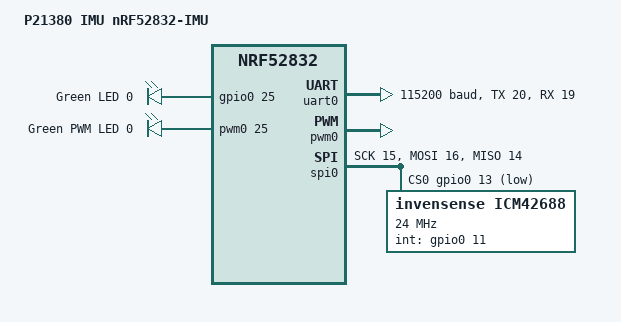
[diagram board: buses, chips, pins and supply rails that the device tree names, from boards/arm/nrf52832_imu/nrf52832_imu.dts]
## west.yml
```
# Copyright (c) 2021 Nordic Semiconductor ASA
# SPDX-License-Identifier: Apache-2.0

manifest:
  self:
    path: 21380_IMU

  remotes:
    - name: zephyrproject-rtos
      url-base: https://github.com/zephyrproject-rtos

  projects:
    - name: zephyr
      remote: zephyrproject-rtos
      revision: v2.7-branch
      import: true
```

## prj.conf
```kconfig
# Incresed stack due to settings API usage
#CONFIG_SYSTEM_WORKQUEUE_STACK_SIZE=2048

CONFIG_BT=y
CONFIG_BT_DEBUG_LOG=y
CONFIG_BT_DEVICE_NAME="P21380 IMU"
CONFIG_BT_DEVICE_NAME_MAX=65
#CONFIG_BT_BROADCASTER=y
#CONFIG_BT_OBSERVER=y

# CONFIG_BT_SMP=y
# CONFIG_BT_SIGNING=y
# CONFIG_BT_PERIPHERAL=y
# CONFIG_BT_DIS=y
# CONFIG_BT_ATT_PREPARE_COUNT=5
# CONFIG_BT_BAS=y
# CONFIG_BT_HRS=y
# CONFIG_BT_PRIVACY=y
# CONFIG_BT_DEVICE_NAME="Zephyr Peripheral Sample Long Name"
# CONFIG_BT_DEVICE_APPEARANCE=833 CONFIG_BT_DEVICE_NAME_DYNAMIC=y
# CONFIG_BT_DEVICE_NAME_MAX=65
# CONFIG_BT_BROADCASTER=y
# CONFIG_BT_OBSERVER=y
# 
# CONFIG_BT_KEYS_OVERWRITE_OLDEST=y
# CONFIG_BT_SETTINGS=y
# CONFIG_FLASH=y
# CONFIG_FLASH_PAGE_LAYOUT=y
# CONFIG_FLASH_MAP=y
# CONFIG_NVS=y
# CONFIG_SETTINGS=y

###########
# for GPIO
###########

CONFIG_GPIO=y

#########
#  SPI  #
#########

CONFIG_SPI=y
#CONFIG_SPI_NRFX=y
#CONFIG_SPI_0=y
#CONFIG_SPI_0_NRF_SPI=y
CONFIG_SENSOR=y
#CONFIG_ICM42688=y
#CONFIG_ICM42688_TRIGGER_OWN_THREAD=y
CONFIG_ICM42605=y
CONFIG_ICM42605_TRIGGER_OWN_THREAD=y
#CONFIG_ICM42688_THREAD_STACK_SIZE=1024

# enable uart driver
CONFIG_SERIAL=y
CONFIG_LOG=y

# enable console
CONFIG_CONSOLE=y
CONFIG_SHELL=y

#CONFIG_SPI=y
#CONFIG_SENSOR=y
#CONFIG_ICM42688=y
#CONFIG_ICM42688_TRIGGER_OWN_THREAD=y
#CONFIG_ICM42688_THREAD_STACK_SIZE=1024
```

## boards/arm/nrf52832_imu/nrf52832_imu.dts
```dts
/*
 * Copyright (c) 2018 Zelin <zelin@makerdiary.com>
 * Copyright (c) 2018 makerdiary.com.
 *
 * SPDX-License-Identifier: Apache-2.0
 */

/dts-v1/;
#include <nordic/nrf52832_qfaa.dtsi>

/ {
	model = "P21380 IMU nRF52832-IMU";
	/* compatible = "nordic,nrf52832-qfaa", "nordic,nrf52832"; */

	chosen {
		zephyr,console = &uart0;
		zephyr,shell-uart = &uart0;
		zephyr,uart-mcumgr = &uart0;
		zephyr,bt-mon-uart = &uart0;
		zephyr,bt-c2h-uart = &uart0;
		zephyr,sram = &sram0;
		zephyr,flash = &flash0;
		zephyr,code-partition = &slot0_partition;
	};

	leds {
		compatible = "gpio-leds";
		led0_green: led_0 {
			gpios = <&gpio0 25 GPIO_ACTIVE_HIGH>;
			label = "Green LED 0";
		};
	};

	pwmleds {
		compatible = "pwm-leds";
		pwm_led0_green: pwm_led_0 {
			pwms = <&pwm0 25>;
			label = "Green PWM LED 0";
		};
	};

	/* These aliases are provided for compatibility with samples */
	aliases {
		led0 = &led0_green;
		led0-green = &led0_green;
		pwm-led0 = &pwm_led0_green;
		green-pwm-led = &pwm_led0_green;
	};

};

&gpiote {
	status = "okay";
};

&gpio0 {
	status = "okay";
};

&uart0 {
	status = "okay";
	compatible = "nordic,nrf-uart";
	current-speed = <115200>;
	tx-pin = <20>;
	rx-pin = <19>;
};

/* &i2c0 { */
/* 	compatible = "nordic,nrf-twi"; */
/* 	status = "okay"; */
/* 	sda-pin = <26>; */
/* 	scl-pin = <27>; */
/* }; */
/*  */
/* &i2c1 { */
/* 	compatible = "nordic,nrf-twi"; */
/* 	status = "okay"; */
/* 	sda-pin = <30>; */
/* 	scl-pin = <31>; */
/* }; */

&pwm0 {
	status = "okay";
	ch0-pin = <25>;
	ch0-inverted;
};

&spi0 {
    compatible = "nordic,nrf-spi";
    status = "okay";
    sck-pin = <15>;
    mosi-pin = <16>;
    miso-pin = <14>;
    cs-gpios = <&gpio0 13 GPIO_ACTIVE_LOW>;
    /* label = "SPI_0"; */
	icm42688@0 {
		compatible = "invensense,icm42688";
		spi-max-frequency = <24000000>;
		reg = <0>;
		label = "ICM42688";
		int-gpios = <&gpio0 11 GPIO_ACTIVE_HIGH>;
        status = "okay";
        /* accel-hz = <25>; */
        /* gyro-hz = <25>; */
	};
};

/* &lptmr1 { */
/* 	interrupt-parent = <&intmux0_ch2>; */
/* }; */
/*  */
/* &intmux0_ch2 { */
/* 	status = "okay"; */
/* }; */
/*  */
/* &intmux0_ch3 { */
/* 	status = "okay"; */
/* }; */
/*  */
/* &generic_fsk { */
/* 	interrupt-parent = <&intmux0_ch3>; */
/* 	status = "okay"; */
/* }; */

&flash0 {

	partitions {
		compatible = "fixed-partitions";
		#address-cells = <1>;
		#size-cells = <1>;

		boot_partition: partition@0 {
			label = "mcuboot";
			reg = <0x00000000 0xc000>;
		};
		slot0_partition: partition@c000 {
			label = "image-0";
			reg = <0x0000C000 0x32000>;
		};
		slot1_partition: partition@3e000 {
			label = "image-1";
			reg = <0x0003E000 0x32000>;
		};
		scratch_partition: partition@70000 {
			label = "image-scratch";
			reg = <0x00070000 0xa000>;
		};
		storage_partition: partition@7a000 {
			label = "storage";
			reg = <0x0007a000 0x00006000>;
		};
	};
};
```

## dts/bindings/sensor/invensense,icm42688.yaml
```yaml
# Copyright (c) 2020 TDK Invensense
# SPDX-License-Identifier: Apache-2.0

description: ICM-42688 motion tracking device

# ICM-42688 is SPI.
compatible: "invensense,icm42688"

include: spi-device.yaml

properties:
    int-gpios:
      type: phandle-array
      required: true
      description: |
        The INT signal default configuration is active-high.  The
        property value should ensure the flags properly describe the
        signal that is presented to the driver.

    accel-hz:
      type: int
      required: false
      default: 25
      description: |
        Default frequency of accelerometer. (Unit - Hz)
        Maps to ACCEL_ODR field in ACCEL_CONFIG0 setting
      enum:
        - 1
        - 3
        - 6
        - 12
        - 25
        - 50
        - 100
        - 200
        - 500
        - 1000
        - 2000
        - 4000
        - 8000
        - 16000
        - 32000

    gyro-hz:
      type: int
      required: false
      default: 25
      description: |
        Default frequency of gyroscope. (Unit - Hz)
        Maps to GYRO_ODR field in GYRO_CONFIG0 setting
      enum:
        - 12
        - 25
        - 50
        - 100
        - 200
        - 500
        - 1000
        - 2000
        - 4000
        - 8000
        - 16000
        - 32000

    accel-fs:
      type: int
      required: false
      default: 16
      description: |
        Default full scale of accelerometer. (Unit - g)
        Maps to ACCEL_FS_SEL field in ACCEL_CONFIG0 setting
      enum:
        - 16
        - 8
        - 4
        - 2

    gyro-fs:
      type: int
      required: false
      default: 2000
      description: |
        Default full scale of gyroscope. (Unit - DPS)
        Maps to GYRO_FS_SEL field in GYRO_CONFIG0 setting
      enum:
        - 2000
        - 1000
        - 500
        - 250
        - 125
        - 62.5
        - 31.25
        - 15.625
```

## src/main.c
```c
/* main.c - Application main entry point */

/*
 * Copyright (c) 2015-2016 Intel Corporation
 *
 * SPDX-License-Identifier: Apache-2.0
 */

#define NRF5_SOFTDEVICE_LFCLK_SOURCE   NRF_CLOCK_LF_SRC_XTAL
#define NRF5_SOFTDEVICE_LFCLK_ACCURACY NRF_CLOCK_LF_XTAL_ACCURACY_20_PPM
#define NRF5_XTAL_VALUE        32000000
#define NRF5_LFCLK_SOURCE      2

#include <zephyr.h>
#include <zephyr/types.h>
#include <stddef.h>
#include <sys/printk.h>
#include <sys/util.h>
#include <device.h>
#include <devicetree.h>
#include <drivers/gpio.h>
//#include <drivers/spi.h>

//#include <drivers/spi.h>

#include <bluetooth/bluetooth.h>
#include <bluetooth/hci.h>

//#include <drivers/sensor.h>
//#include "icm42688.h"

#define LED0_NODE DT_ALIAS(led0)

#if DT_NODE_HAS_STATUS(LED0_NODE, okay)
#define LED0	DT_GPIO_LABEL(LED0_NODE, gpios)
#define PIN	DT_GPIO_PIN(LED0_NODE, gpios)
#define FLAGS	DT_GPIO_FLAGS(LED0_NODE, gpios)
#else
/* A build error here means your board isn't set up to blink an LED. */
#error "Unsupported board: led0 devicetree alias is not defined"
#define LED0	""
#define PIN	0
#define FLAGS	0
#endif

#if 1

#define DEVICE_NAME CONFIG_BT_DEVICE_NAME
#define DEVICE_NAME_LEN (sizeof(DEVICE_NAME) - 1)

/*
 * Set Advertisement data. Based on the Eddystone specification:
 * https://github.com/google/eddystone/blob/master/protocol-specification.md
 * https://github.com/google/eddystone/tree/master/eddystone-url
 */
static const struct bt_data ad[] = {
	BT_DATA_BYTES(BT_DATA_FLAGS, BT_LE_AD_NO_BREDR),
	BT_DATA_BYTES(BT_DATA_UUID16_ALL, 0xaa, 0xfe),
	BT_DATA_BYTES(BT_DATA_SVC_DATA16,
		      0xaa, 0xfe, /* Eddystone UUID */
		      0x10, /* Eddystone-URL frame type */
		      0x00, /* Calibrated Tx power at 0m */
		      0x00, /* URL Scheme Prefix http://www. */
		      'z', 'e', 'p', 'h', 'y', 'r',
		      'p', 'r', 'o', 'j', 'e', 'c', 't',
		      0x08) /* .org */
};

/* Set Scan Response data */
static const struct bt_data sd[] = {
	BT_DATA(BT_DATA_NAME_COMPLETE, DEVICE_NAME, DEVICE_NAME_LEN),
};

static void bt_ready(int err)
{
	char addr_s[BT_ADDR_LE_STR_LEN];
	bt_addr_le_t addr = {0};
	size_t count = 1;

	if (err) {
		printk("Bluetooth init failed (err %d)\n", err);
		return;
	}

	printk("Bluetooth initialized\n");

	/* Start advertising */
	err = bt_le_adv_start(BT_LE_ADV_NCONN_IDENTITY, ad, ARRAY_SIZE(ad),
			      sd, ARRAY_SIZE(sd));
	if (err) {
		printk("Advertising failed to start (err %d)\n", err);
		return;
	}


	/* For connectable advertising you would use
	 * bt_le_oob_get_local().  For non-connectable non-identity
	 * advertising an non-resolvable private address is used;
	 * there is no API to retrieve that.
	 */

	bt_id_get(&addr, &count);
	bt_addr_le_to_str(&addr, addr_s, sizeof(addr_s));

	printk("Beacon started, advertising as %s\n", addr_s);
}

#endif 

void main(void)
{
	int err;

	printk("Starting Beacon Demo\n");
    printk("Test output\n");

	const struct device *dev;
	/* bool led_is_on = true; */
	int ret;

	/* Initialize the Bluetooth Subsystem */
	err = bt_enable(bt_ready);
	if (err) {
		printk("Bluetooth init failed (err %d)\n", err);
	}

	dev = device_get_binding(LED0);
	if (dev == NULL) {
		return;
	}

	ret = gpio_pin_configure(dev, PIN, GPIO_OUTPUT_ACTIVE | FLAGS);
	if (ret < 0) {
		return;
	}

	while (1) {
		/* gpio_pin_set(dev, PIN, (int)led_is_on); */
		/* led_is_on = !led_is_on; */
		/* k_msleep(2000); */
        printk("LED On...\n");
		gpio_pin_set(dev, PIN, false);
		k_msleep(1000);
        printk("LED Off...\n");
		gpio_pin_set(dev, PIN, true);
		k_msleep(1000);
	}

	/* Initialize the Bluetooth Subsystem */
	/* err = bt_enable(bt_ready); */
	/* if (err) { */
	/* 	printk("Bluetooth init failed (err %d)\n", err); */
	/* } */
}
```

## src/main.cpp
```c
#include "ch.h"
#include "hal.h"
#include "board.h"

// Thread for LED status and wakeup hold
__attribute__((section(".stacks")))
static THD_WORKING_AREA(monitorThreadWA, 256);
static THD_FUNCTION(monitorThread, arg);

int main(void)
{
    halInit();
    chSysInit();

    chThdCreateStatic(
        monitorThreadWA, sizeof(monitorThreadWA),
        LOWPRIO,
        monitorThread, nullptr);

    chThdExit(0);
    return 0;
}

THD_FUNCTION(monitorThread, arg)
{
    (void)arg;
    while(true) {
        palClearLine(LINE_LED_RED);
        chThdSleepMilliseconds(3000);
        palSetLine(LINE_LED_RED);
        chThdSleepMilliseconds(1000);
    }
}
```
